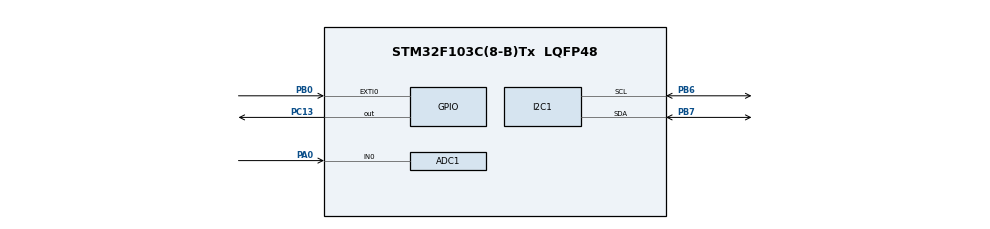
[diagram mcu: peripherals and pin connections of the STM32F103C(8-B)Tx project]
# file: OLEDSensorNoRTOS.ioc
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ADC1.Channel-0\#ChannelRegularConversion=ADC_CHANNEL_0
ADC1.NbrOfConversionFlag=1
ADC1.Rank-0\#ChannelRegularConversion=1
ADC1.SamplingTime-0\#ChannelRegularConversion=ADC_SAMPLETIME_239CYCLES_5
ADC1.master=1
I2C1.I2C_Mode=I2C_Fast
Mcu.Family=STM32F1
Mcu.Name=STM32F103C(8-B)Tx
Mcu.Package=LQFP48
NVIC.ADC1_2_IRQn=true\:0\:0\:false\:false\:true\:true\:true\:true
NVIC.EXTI0_IRQn=true\:0\:0\:false\:false\:true\:true\:true\:true
NVIC.PriorityGroup=NVIC_PRIORITYGROUP_4
NVIC.TIM2_IRQn=true\:0\:0\:false\:false\:true\:true\:true\:true
PA0-WKUP.Signal=ADCx_IN0
PA13.Mode=Serial_Wire
PA13.Signal=SYS_JTMS-SWDIO
PA14.Mode=Serial_Wire
PA14.Signal=SYS_JTCK-SWCLK
PB0.GPIO_PuPd=GPIO_PULLUP
PB0.Signal=GPXTI0
PB6.Mode=I2C
PB6.Signal=I2C1_SCL
PB7.Mode=I2C
PB7.Signal=I2C1_SDA
PC13-TAMPER-RTC.Signal=GPIO_Output
PD0-OSC_IN.Mode=HSE-External-Oscillator
PD0-OSC_IN.Signal=RCC_OSC_IN
PD1-OSC_OUT.Mode=HSE-External-Oscillator
PD1-OSC_OUT.Signal=RCC_OSC_OUT
ProjectManager.HeapSize=0x200
ProjectManager.StackSize=0x400
ProjectManager.TargetToolchain=MDK-ARM V5.32
RCC.APB1Freq_Value=8000000
RCC.APB2Freq_Value=8000000
SH.ADCx_IN0.0=ADC1_IN0,IN0
TIM2.Period=1000-1
TIM2.Prescaler=8000-1
VP_TIM2_VS_ClockSourceINT.Mode=Internal
board=custom

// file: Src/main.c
/* USER CODE BEGIN Header */
/**
  ******************************************************************************
  * @file           : main.c
  * @brief          : Main program body
  ******************************************************************************
  * @attention
  *
  * Copyright (c) 2023 STMicroelectronics.
  * All rights reserved.
  *
  * This software is licensed under terms that can be found in the LICENSE file
  * in the root directory of this software component.
  * If no LICENSE file comes with this software, it is provided AS-IS.
  *
  ******************************************************************************
  */
/* USER CODE END Header */
#include "main.h"

/* USER CODE BEGIN Includes */
#include "fonts.h"
#include "ssd1306.h"
#include "stdio.h"
/* USER CODE END Includes */

/* USER CODE BEGIN PTD */
float flow; //lit per minute
char bufferflow[20];
float waterFlowPrevious;
float waterFlowNow;
float volume = 0;
int counter;
float voltage;
uint16_t u16_ADCVal;
/* USER CODE END PTD */

ADC_HandleTypeDef hadc1;

I2C_HandleTypeDef hi2c1;

TIM_HandleTypeDef htim2;

void SystemClock_Config(void);
static void MX_GPIO_Init(void);
static void MX_I2C1_Init(void);
static void MX_TIM2_Init(void);
static void MX_ADC1_Init(void);

/* USER CODE BEGIN 0 */
void HAL_TIM_PeriodElapsedCallback(TIM_HandleTypeDef *htim)
{
  /* Prevent unused argument(s) compilation warning */
	if(htim->Instance == TIM2){
		counter++;
		waterFlowPrevious = waterFlowNow;
		waterFlowNow = flow;
		volume += (waterFlowNow + waterFlowPrevious)/2;
	}
  /* NOTE : This function should not be modified, when the callback is needed,
            the HAL_TIM_PeriodElapsedCallback could be implemented in the user file
   */
}

void HAL_ADC_ConvCpltCallback(ADC_HandleTypeDef* hadc)
{
  /* Prevent unused argument(s) compilation warning */
  // UNUSED(hadc);
	if(hadc->Instance == ADC1){
		u16_ADCVal = HAL_ADC_GetValue(&hadc1);
		voltage = ((float) u16_ADCVal/4095)*3.3;
	}
  /* NOTE : This function should not be modified. When the callback is needed,
            function HAL_ADC_ConvCpltCallback must be implemented in the user file.
   */
}

/* USER CODE END 0 */

int main(void)
{

  /* MCU Configuration--------------------------------------------------------*/

  /* Reset of all peripherals, Initializes the Flash interface and the Systick. */
  HAL_Init();

  /* Configure the system clock */
  SystemClock_Config();

  /* Initialize all configured peripherals */
  MX_GPIO_Init();
  MX_I2C1_Init();
  MX_TIM2_Init();
  MX_ADC1_Init();
  /* USER CODE BEGIN 2 */
	HAL_TIM_Base_Start_IT(&htim2);
	// HAL_ADC_Start_IT(&hadc1);
	SSD1306_Init();
	// SSD1306_Puts("Hello World!", &Font_11x18, 1);
	// SSD1306_UpdateScreen();
	// HAL_Delay(2000);
  /* USER CODE END 2 */

  /* Infinite loop */
  /* USER CODE BEGIN WHILE */
  while (1)
  {
		SSD1306_GotoXY(0,0);
    sprintf(bufferflow, "SV:%2.1f %2.1f ", flow, volume);
		SSD1306_Puts(bufferflow, &Font_11x18, 1);
		SSD1306_GotoXY(0,32);
		HAL_ADC_Start_IT(&hadc1);
		sprintf(bufferflow, "ADC: %2.1f", voltage);
		SSD1306_Puts(bufferflow, &Font_11x18, 1);
		SSD1306_UpdateScreen();
		HAL_Delay(500);
    /* USER CODE END WHILE */

  }
}

void SystemClock_Config(void)
{
  RCC_OscInitTypeDef RCC_OscInitStruct = {0};
  RCC_ClkInitTypeDef RCC_ClkInitStruct = {0};
  RCC_PeriphCLKInitTypeDef PeriphClkInit = {0};

  /** Initializes the RCC Oscillators according to the specified parameters
  * in the RCC_OscInitTypeDef structure.
  */
  RCC_OscInitStruct.OscillatorType = RCC_OSCILLATORTYPE_HSI;
  RCC_OscInitStruct.HSIState = RCC_HSI_ON;
  RCC_OscInitStruct.HSICalibrationValue = RCC_HSICALIBRATION_DEFAULT;
  RCC_OscInitStruct.PLL.PLLState = RCC_PLL_NONE;
  if (HAL_RCC_OscConfig(&RCC_OscInitStruct) != HAL_OK)
  {
    Error_Handler();
  }

  /** Initializes the CPU, AHB and APB buses clocks
  */
  RCC_ClkInitStruct.ClockType = RCC_CLOCKTYPE_HCLK|RCC_CLOCKTYPE_SYSCLK
                              |RCC_CLOCKTYPE_PCLK1|RCC_CLOCKTYPE_PCLK2;
  RCC_ClkInitStruct.SYSCLKSource = RCC_SYSCLKSOURCE_HSI;
  RCC_ClkInitStruct.AHBCLKDivider = RCC_SYSCLK_DIV1;
  RCC_ClkInitStruct.APB1CLKDivider = RCC_HCLK_DIV1;
  RCC_ClkInitStruct.APB2CLKDivider = RCC_HCLK_DIV1;

  if (HAL_RCC_ClockConfig(&RCC_ClkInitStruct, FLASH_LATENCY_0) != HAL_OK)
  {
    Error_Handler();
  }
  PeriphClkInit.PeriphClockSelection = RCC_PERIPHCLK_ADC;
  PeriphClkInit.AdcClockSelection = RCC_ADCPCLK2_DIV2;
  if (HAL_RCCEx_PeriphCLKConfig(&PeriphClkInit) != HAL_OK)
  {
    Error_Handler();
  }
}

static void MX_ADC1_Init(void)
{

  ADC_ChannelConfTypeDef sConfig = {0};

  /** Common config
  */
  hadc1.Instance = ADC1;
  hadc1.Init.ScanConvMode = ADC_SCAN_DISABLE;
  hadc1.Init.ContinuousConvMode = DISABLE;
  hadc1.Init.DiscontinuousConvMode = DISABLE;
  hadc1.Init.ExternalTrigConv = ADC_SOFTWARE_START;
  hadc1.Init.DataAlign = ADC_DATAALIGN_RIGHT;
  hadc1.Init.NbrOfConversion = 1;
  if (HAL_ADC_Init(&hadc1) != HAL_OK)
  {
    Error_Handler();
  }

  /** Configure Regular Channel
  */
  sConfig.Channel = ADC_CHANNEL_0;
  sConfig.Rank = ADC_REGULAR_RANK_1;
  sConfig.SamplingTime = ADC_SAMPLETIME_239CYCLES_5;
  if (HAL_ADC_ConfigChannel(&hadc1, &sConfig) != HAL_OK)
  {
    Error_Handler();
  }

}

static void MX_I2C1_Init(void)
{

  hi2c1.Instance = I2C1;
  hi2c1.Init.ClockSpeed = 400000;
  hi2c1.Init.DutyCycle = I2C_DUTYCYCLE_2;
  hi2c1.Init.OwnAddress1 = 0;
  hi2c1.Init.AddressingMode = I2C_ADDRESSINGMODE_7BIT;
  hi2c1.Init.DualAddressMode = I2C_DUALADDRESS_DISABLE;
  hi2c1.Init.OwnAddress2 = 0;
  hi2c1.Init.GeneralCallMode = I2C_GENERALCALL_DISABLE;
  hi2c1.Init.NoStretchMode = I2C_NOSTRETCH_DISABLE;
  if (HAL_I2C_Init(&hi2c1) != HAL_OK)
  {
    Error_Handler();
  }

}

static void MX_TIM2_Init(void)
{

  TIM_ClockConfigTypeDef sClockSourceConfig = {0};
  TIM_MasterConfigTypeDef sMasterConfig = {0};

  htim2.Instance = TIM2;
  htim2.Init.Prescaler = 8000-1;
  htim2.Init.CounterMode = TIM_COUNTERMODE_UP;
  htim2.Init.Period = 1000-1;
  htim2.Init.ClockDivision = TIM_CLOCKDIVISION_DIV1;
  htim2.Init.AutoReloadPreload = TIM_AUTORELOAD_PRELOAD_DISABLE;
  if (HAL_TIM_Base_Init(&htim2) != HAL_OK)
  {
    Error_Handler();
  }
  sClockSourceConfig.ClockSource = TIM_CLOCKSOURCE_INTERNAL;
  if (HAL_TIM_ConfigClockSource(&htim2, &sClockSourceConfig) != HAL_OK)
  {
    Error_Handler();
  }
  sMasterConfig.MasterOutputTrigger = TIM_TRGO_RESET;
  sMasterConfig.MasterSlaveMode = TIM_MASTERSLAVEMODE_DISABLE;
  if (HAL_TIMEx_MasterConfigSynchronization(&htim2, &sMasterConfig) != HAL_OK)
  {
    Error_Handler();
  }

}

static void MX_GPIO_Init(void)
{
  GPIO_InitTypeDef GPIO_InitStruct = {0};

  /* GPIO Ports Clock Enable */
  __HAL_RCC_GPIOC_CLK_ENABLE();
  __HAL_RCC_GPIOD_CLK_ENABLE();
  __HAL_RCC_GPIOA_CLK_ENABLE();
  __HAL_RCC_GPIOB_CLK_ENABLE();

  /*Configure GPIO pin Output Level */
  HAL_GPIO_WritePin(GPIOC, GPIO_PIN_13, GPIO_PIN_RESET);

  /*Configure GPIO pin : PC13 */
  GPIO_InitStruct.Pin = GPIO_PIN_13;
  GPIO_InitStruct.Mode = GPIO_MODE_OUTPUT_PP;
  GPIO_InitStruct.Pull = GPIO_NOPULL;
  GPIO_InitStruct.Speed = GPIO_SPEED_FREQ_LOW;
  HAL_GPIO_Init(GPIOC, &GPIO_InitStruct);

  /*Configure GPIO pin : PB0 */
  GPIO_InitStruct.Pin = GPIO_PIN_0;
  GPIO_InitStruct.Mode = GPIO_MODE_IT_RISING;
  GPIO_InitStruct.Pull = GPIO_PULLUP;
  HAL_GPIO_Init(GPIOB, &GPIO_InitStruct);

  /* EXTI interrupt init*/
  HAL_NVIC_SetPriority(EXTI0_IRQn, 0, 0);
  HAL_NVIC_EnableIRQ(EXTI0_IRQn);

}

void Error_Handler(void)
{
  __disable_irq();
  while (1)
  {
  }
}
